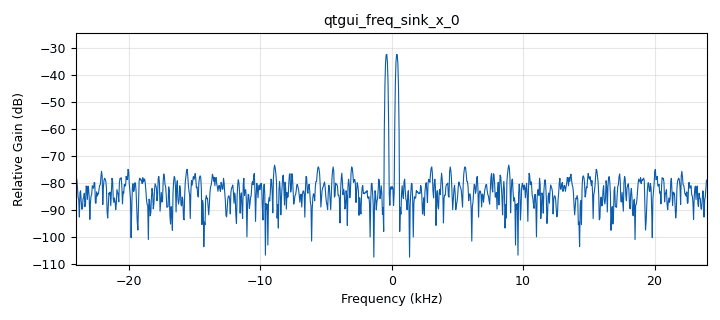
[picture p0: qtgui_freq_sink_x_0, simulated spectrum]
options:
  parameters:
    generate_options: qt_gui
    id: top_block
    output_language: python
  states: {}

blocks:
- name: noise_slider
  id: variable_qtgui_range
  parameters:
    label: Noise
    orient: Qt.Horizontal
    start: '0'
    step: '.005'
    stop: '.1'
    value: '.005'
  states: {}
- name: samp_rate
  id: variable
  parameters:
    value: '48000'
  states: {}
- name: signal_slider_1
  id: variable_qtgui_range
  parameters:
    label: Sine Wave One
    orient: Qt.Horizontal
    start: '0'
    step: '10'
    stop: '1000'
    value: '440'
  states: {}
- name: signal_slider_2
  id: variable_qtgui_range
  parameters:
    label: Sine Wave Two
    orient: Qt.Horizontal
    start: '0'
    step: '10'
    stop: '1000'
    value: '350'
  states: {}
- name: analog_noise_source_x_0
  id: analog_noise_source_x
  parameters:
    amp: noise_slider
    noise_type: analog.GR_GAUSSIAN
    seed: '0'
    type: float
  states: {}
- name: analog_sig_source_x_0
  id: analog_sig_source_x
  parameters:
    amp: '.1'
    freq: signal_slider_1
    offset: '0'
    phase: '0'
    samp_rate: samp_rate
    type: float
    waveform: analog.GR_COS_WAVE
  states: {}
- name: analog_sig_source_x_0_0
  id: analog_sig_source_x
  parameters:
    amp: '.1'
    freq: signal_slider_2
    offset: '0'
    phase: '0'
    samp_rate: samp_rate
    type: float
    waveform: analog.GR_COS_WAVE
  states: {}
- name: audio_sink_0
  id: audio_sink
  parameters:
    samp_rate: '48000'
  states: {}
- name: blocks_add_xx_0
  id: blocks_add_xx
  parameters:
    num_inputs: '3'
    type: float
  states: {}
- name: qtgui_freq_sink_x_0
  id: qtgui_freq_sink_x
  parameters:
    autoscale: 'True'
    bw: samp_rate
    fc: '0'
    fftsize: '1024'
    grid: 'True'
    type: float
    wintype: firdes.WIN_BLACKMAN_hARRIS
  states: {}

connections:
- [analog_noise_source_x_0, '0', blocks_add_xx_0, '2']
- [analog_sig_source_x_0, '0', blocks_add_xx_0, '0']
- [analog_sig_source_x_0_0, '0', blocks_add_xx_0, '1']
- [blocks_add_xx_0, '0', audio_sink_0, '0']
- [blocks_add_xx_0, '0', qtgui_freq_sink_x_0, '0']

metadata:
  file_format: 1
